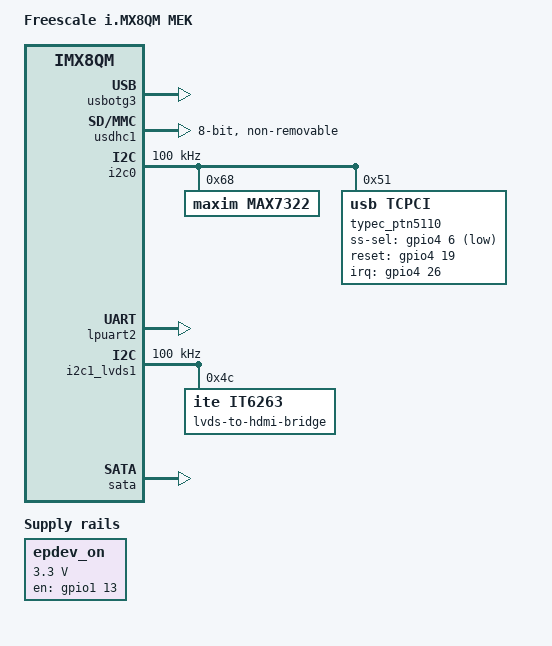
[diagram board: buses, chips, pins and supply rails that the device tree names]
/*
 * Copyright 2017-2018 NXP
 *
 * This program is free software; you can redistribute it and/or
 * modify it under the terms of the GNU General Public License
 * as published by the Free Software Foundation; either version 2
 * of the License, or (at your option) any later version.
 *
 * This program is distributed in the hope that it will be useful,
 * but WITHOUT ANY WARRANTY; without even the implied warranty of
 * MERCHANTABILITY or FITNESS FOR A PARTICULAR PURPOSE.  See the
 * GNU General Public License for more details.
 */

/dts-v1/;

#include "fsl-imx8qm-cockpit-a72.dtsi"

/ {
	model = "Freescale i.MX8QM MEK";
	compatible = "fsl,imx8qm-mek", "fsl,imx8qm";

	aliases {
		gpio8 = &max7322;
	};

	chosen {
		bootargs = "console=ttyLP2,115200 earlycon=lpuart32,0x5a080000,115200";
		stdout-path = &lpuart2;
	};

	regulators {
		compatible = "simple-bus";
		#address-cells = <1>;
		#size-cells = <0>;

		reg_usb_otg1_vbus: regulator@0 {
			compatible = "regulator-fixed";
			reg = <0>;
			regulator-name = "usb_otg1_vbus";
			regulator-min-microvolt = <5000000>;
			regulator-max-microvolt = <5000000>;
			gpio = <&gpio4 3 GPIO_ACTIVE_HIGH>;
			enable-active-high;
			status = "disabled";
		};

		epdev_on: fixedregulator@100 {
			compatible = "regulator-fixed";
			pinctrl-names = "default", "sleep";
			pinctrl-0 = <&pinctrl_wlreg_on>;
			pinctrl-1 = <&pinctrl_wlreg_on_sleep>;
			regulator-min-microvolt = <3300000>;
			regulator-max-microvolt = <3300000>;
			regulator-name = "epdev_on";
			gpio = <&gpio1 13 0>;
			enable-active-high;
		};
	};
};

&iomuxc {
	pinctrl-names = "default";

	imx8qm-mek {
		pinctrl_fec2: fec2grp {
			fsl,pins = <
				SC_P_COMP_CTL_GPIO_1V8_3V3_ENET_ENETA_PAD	0x000014a0
				SC_P_ENET1_RGMII_TX_CTL_CONN_ENET1_RGMII_TX_CTL	0x00000060
				SC_P_ENET1_RGMII_TXC_CONN_ENET1_RGMII_TXC	0x00000060
				SC_P_ENET1_RGMII_TXD0_CONN_ENET1_RGMII_TXD0	0x00000060
				SC_P_ENET1_RGMII_TXD1_CONN_ENET1_RGMII_TXD1	0x00000060
				SC_P_ENET1_RGMII_TXD2_CONN_ENET1_RGMII_TXD2	0x00000060
				SC_P_ENET1_RGMII_TXD3_CONN_ENET1_RGMII_TXD3	0x00000060
				SC_P_ENET1_RGMII_RXC_CONN_ENET1_RGMII_RXC	0x00000060
				SC_P_ENET1_RGMII_RX_CTL_CONN_ENET1_RGMII_RX_CTL	0x00000060
				SC_P_ENET1_RGMII_RXD0_CONN_ENET1_RGMII_RXD0	0x00000060
				SC_P_ENET1_RGMII_RXD1_CONN_ENET1_RGMII_RXD1	0x00000060
				SC_P_ENET1_RGMII_RXD2_CONN_ENET1_RGMII_RXD2	0x00000060
				SC_P_ENET1_RGMII_RXD3_CONN_ENET1_RGMII_RXD3	0x00000060
			>;
		};

		pinctrl_lpuart2: lpuart2grp {
			fsl,pins = <
				SC_P_UART0_RTS_B_DMA_UART2_RX		0x06000020
				SC_P_UART0_CTS_B_DMA_UART2_TX		0x06000020
			>;
		};

		pinctrl_i2c0: i2c0grp {
			fsl,pins = <
				SC_P_HDMI_TX0_TS_SCL_DMA_I2C0_SCL	0x06000021
				SC_P_HDMI_TX0_TS_SDA_DMA_I2C0_SDA	0x06000021
			>;
		};

		pinctrl_pciea: pcieagrp{
			fsl,pins = <
				SC_P_PCIE_CTRL0_CLKREQ_B_LSIO_GPIO4_IO27	0x06000021
				SC_P_PCIE_CTRL0_WAKE_B_LSIO_GPIO4_IO28		0x04000021
				SC_P_PCIE_CTRL0_PERST_B_LSIO_GPIO4_IO29		0x06000021
				SC_P_USDHC2_RESET_B_LSIO_GPIO4_IO09		0x06000021
			>;
		};

		pinctrl_typec: typecgrp {
			fsl,pins = <
				SC_P_QSPI1A_SS0_B_LSIO_GPIO4_IO19	0x60
				SC_P_USB_SS3_TC3_LSIO_GPIO4_IO06	0x60
				SC_P_QSPI1A_DATA0_LSIO_GPIO4_IO26	0x00000021
			>;
		};

		pinctrl_usbotg1: usbotg1 {
			fsl,pins = <
				SC_P_USB_SS3_TC0_CONN_USB_OTG1_PWR		0x00000021
			>;
		};

		pinctrl_usdhc1: usdhc1grp {
			fsl,pins = <
				SC_P_EMMC0_CLK_CONN_EMMC0_CLK		0x06000041
				SC_P_EMMC0_CMD_CONN_EMMC0_CMD		0x00000021
				SC_P_EMMC0_DATA0_CONN_EMMC0_DATA0	0x00000021
				SC_P_EMMC0_DATA1_CONN_EMMC0_DATA1	0x00000021
				SC_P_EMMC0_DATA2_CONN_EMMC0_DATA2	0x00000021
				SC_P_EMMC0_DATA3_CONN_EMMC0_DATA3	0x00000021
				SC_P_EMMC0_DATA4_CONN_EMMC0_DATA4	0x00000021
				SC_P_EMMC0_DATA5_CONN_EMMC0_DATA5	0x00000021
				SC_P_EMMC0_DATA6_CONN_EMMC0_DATA6	0x00000021
				SC_P_EMMC0_DATA7_CONN_EMMC0_DATA7	0x00000021
				SC_P_EMMC0_STROBE_CONN_EMMC0_STROBE	0x00000041
				SC_P_EMMC0_RESET_B_CONN_EMMC0_RESET_B	0x00000021
			>;
		};

		pinctrl_usdhc1_100mhz: usdhc1grp100mhz {
			fsl,pins = <
				SC_P_EMMC0_CLK_CONN_EMMC0_CLK		0x06000040
				SC_P_EMMC0_CMD_CONN_EMMC0_CMD		0x00000020
				SC_P_EMMC0_DATA0_CONN_EMMC0_DATA0	0x00000020
				SC_P_EMMC0_DATA1_CONN_EMMC0_DATA1	0x00000020
				SC_P_EMMC0_DATA2_CONN_EMMC0_DATA2	0x00000020
				SC_P_EMMC0_DATA3_CONN_EMMC0_DATA3	0x00000020
				SC_P_EMMC0_DATA4_CONN_EMMC0_DATA4	0x00000020
				SC_P_EMMC0_DATA5_CONN_EMMC0_DATA5	0x00000020
				SC_P_EMMC0_DATA6_CONN_EMMC0_DATA6	0x00000020
				SC_P_EMMC0_DATA7_CONN_EMMC0_DATA7	0x00000020
				SC_P_EMMC0_STROBE_CONN_EMMC0_STROBE	0x00000040
				SC_P_EMMC0_RESET_B_CONN_EMMC0_RESET_B	0x00000020
			>;
		};

		pinctrl_usdhc1_200mhz: usdhc1grp200mhz {
			fsl,pins = <
				SC_P_EMMC0_CLK_CONN_EMMC0_CLK		0x06000040
				SC_P_EMMC0_CMD_CONN_EMMC0_CMD		0x00000020
				SC_P_EMMC0_DATA0_CONN_EMMC0_DATA0	0x00000020
				SC_P_EMMC0_DATA1_CONN_EMMC0_DATA1	0x00000020
				SC_P_EMMC0_DATA2_CONN_EMMC0_DATA2	0x00000020
				SC_P_EMMC0_DATA3_CONN_EMMC0_DATA3	0x00000020
				SC_P_EMMC0_DATA4_CONN_EMMC0_DATA4	0x00000020
				SC_P_EMMC0_DATA5_CONN_EMMC0_DATA5	0x00000020
				SC_P_EMMC0_DATA6_CONN_EMMC0_DATA6	0x00000020
				SC_P_EMMC0_DATA7_CONN_EMMC0_DATA7	0x00000020
				SC_P_EMMC0_STROBE_CONN_EMMC0_STROBE	0x00000040
				SC_P_EMMC0_RESET_B_CONN_EMMC0_RESET_B	0x00000020
			>;
		};

		pinctrl_lvds0_lpi2c1: lvds0lpi2c1grp {
			fsl,pins = <
				SC_P_LVDS0_I2C1_SCL_LVDS0_I2C1_SCL	0xc600004c
				SC_P_LVDS0_I2C1_SDA_LVDS0_I2C1_SDA	0xc600004c
			>;
		};

		pinctrl_lvds1_lpi2c1: lvds1lpi2c1grp {
			fsl,pins = <
				SC_P_LVDS1_I2C1_SCL_LVDS1_I2C1_SCL	0xc600004c
				SC_P_LVDS1_I2C1_SDA_LVDS1_I2C1_SDA	0xc600004c
			>;
		};

		pinctrl_wlreg_on: wlregongrp{
			fsl,pins = <
				SC_P_LVDS1_I2C0_SDA_LSIO_GPIO1_IO13		0x06000000
			>;
		};

		pinctrl_wlreg_on_sleep: wlregon_sleepgrp{
			fsl,pins = <
				SC_P_LVDS1_I2C0_SDA_LSIO_GPIO1_IO13		0x07800000
			>;
		};
	};
};

&gpio0 {
	status = "okay";
};

&gpio1 {
};

&gpio2 {
};

&gpio3 {
	status = "okay";
};

&gpio4 {
};

&gpio5 {
};

&gpio6 {
	status = "okay";
};

&gpio7 {
	status = "okay";
};

&usbotg1 {
	vbus-supply = <&reg_usb_otg1_vbus>;
	srp-disable;
	hnp-disable;
	adp-disable;
	disable-over-current;
	status = "disabled";
};

&usbotg3 {
	status = "okay";
};

&usdhc1 {
	pinctrl-names = "default", "state_100mhz", "state_200mhz";
	pinctrl-0 = <&pinctrl_usdhc1>;
	pinctrl-1 = <&pinctrl_usdhc1_100mhz>;
	pinctrl-2 = <&pinctrl_usdhc1_200mhz>;
	bus-width = <8>;
	non-removable;
	/delete-property/ iommus;
	status = "okay";
};

&i2c0 {
	#address-cells = <1>;
	#size-cells = <0>;
	clock-frequency = <100000>;
	pinctrl-names = "default";
	pinctrl-0 = <&pinctrl_i2c0>;
	status = "okay";

	max7322: gpio@68 {
		compatible = "maxim,max7322";
		reg = <0x68>;
		gpio-controller;
		#gpio-cells = <2>;
	};

	typec_ptn5110: typec@50 {
		compatible = "usb,tcpci";
		pinctrl-names = "default";
		pinctrl-0 = <&pinctrl_typec>;
		reg = <0x51>;
		interrupt-parent = <&gpio4>;
		interrupts = <26 IRQ_TYPE_LEVEL_LOW>;
		ss-sel-gpios = <&gpio4 6 GPIO_ACTIVE_LOW>;
		reset-gpios = <&gpio4 19 GPIO_ACTIVE_HIGH>;
		src-pdos = <0x380190c8 0x3803c0c8>;
		port-type = "drp";
		sink-disable;
		default-role = "source";
		status = "okay";
	};
};

&lpuart2 { /* console */
	pinctrl-names = "default";
	pinctrl-0 = <&pinctrl_lpuart2>;
	status = "okay";
};

&i2c1_lvds0 {
	#address-cells = <1>;
	#size-cells = <0>;
	pinctrl-names = "default";
	pinctrl-0 = <&pinctrl_lvds0_lpi2c1>;
	clock-frequency = <100000>;
	status = "okay";

	lvds-to-hdmi-bridge@4c {
		compatible = "ite,it6263";
		reg = <0x4c>;
	};
};

&i2c1_lvds1 {
	#address-cells = <1>;
	#size-cells = <0>;
	pinctrl-names = "default";
	pinctrl-0 = <&pinctrl_lvds1_lpi2c1>;
	clock-frequency = <100000>;
	status = "okay";

	lvds-to-hdmi-bridge@4c {
		compatible = "ite,it6263";
		reg = <0x4c>;
	};
};

&pciea{
	ext_osc = <1>;
	pinctrl-names = "default";
	pinctrl-0 = <&pinctrl_pciea>;
	disable-gpio = <&gpio4 9 GPIO_ACTIVE_LOW>;
	reset-gpio = <&gpio4 29 GPIO_ACTIVE_LOW>;
	clkreq-gpio = <&gpio4 27 GPIO_ACTIVE_LOW>;
	epdev_on = <&epdev_on>;
	status = "okay";
};

&sata {
	pinctrl-names = "default";
	pinctrl-0 = <&pinctrl_pciea>;
	clkreq-gpio = <&gpio4 27 GPIO_ACTIVE_LOW>;
	/delete-property/ iommus;
	status = "okay";
};

&tsens {
	tsens-num = <6>;
};

&thermal_zones {
	pmic-thermal0 {
		polling-delay-passive = <250>;
		polling-delay = <2000>;
		thermal-sensors = <&tsens 5>;
		trips {
			pmic_alert0: trip0 {
				temperature = <110000>;
				hysteresis = <2000>;
				type = "passive";
			};
			pmic_crit0: trip1 {
				temperature = <125000>;
				hysteresis = <2000>;
				type = "critical";
			};
		};
		cooling-maps {
			map0 {
				trip = <&pmic_alert0>;
				cooling-device =
				<&A53_0 THERMAL_NO_LIMIT THERMAL_NO_LIMIT>;
			};
			map1 {
				trip = <&pmic_alert0>;
				cooling-device =
				<&A72_0 THERMAL_NO_LIMIT THERMAL_NO_LIMIT>;
			};
		};
	};
};

&display {
	ports = <&dpu2_disp0>, <&dpu2_disp1>;
};


/delete-node/ &dpu1;
/delete-node/ &fec1;
/delete-node/ &ldb1;
/delete-node/ &isi_0;
/delete-node/ &lpuart0;
/delete-node/ &lpuart1;
/delete-node/ &lpuart3;
/delete-node/ &lpuart4;
/delete-node/ &i2c2;
/delete-node/ &i2c3;
/delete-node/ &i2c4;
/delete-node/ &i2c1_lvds0;
/delete-node/ &usdhc2;
/delete-node/ &usdhc3;
/delete-node/ &flexspi0;
/delete-node/ &dpu1_intsteer;
/delete-node/ &lvds_region1;
/delete-node/ &ldb1_phy;
/delete-node/ &hdmi;
/delete-node/ &i2c0_hdmi;
/delete-node/ &irqsteer_lvds0;
/delete-node/ &mipi_dsi1;
/delete-node/ &mipi_dsi_bridge1;
/delete-node/ &i2c0_mipi_dsi0;
/delete-node/ &lpspi0;
/delete-node/ &mlb;
/delete-node/ &pciea;
/delete-node/ &pcieb;
/delete-node/ &pinctrl_lvds0_lpi2c1;
